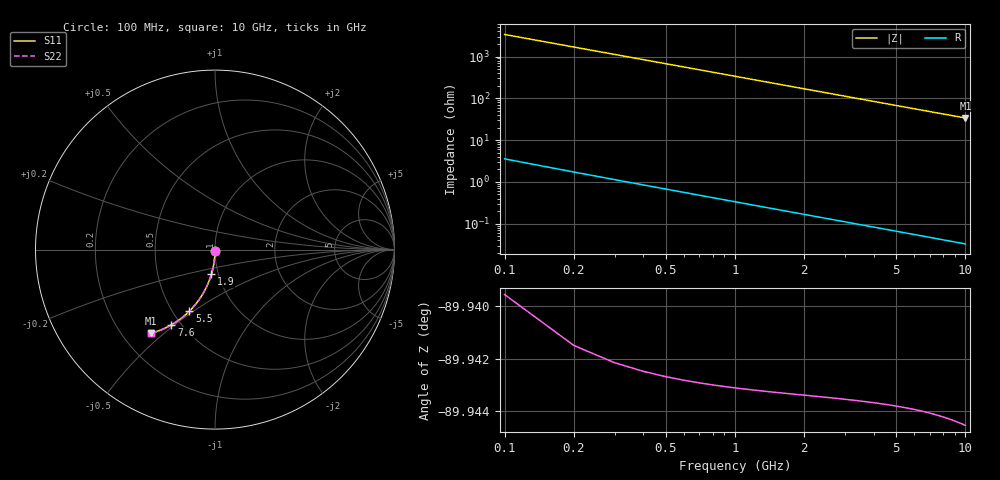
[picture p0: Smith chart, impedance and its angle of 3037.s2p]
# Hz S RI R 50.00
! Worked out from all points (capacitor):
!   100 points, 100 MHz to 10 GHz, reference 50 ohm
!   read as one part in shunt: C = 472 fF near 100 MHz
!   lowest |Z| = 33.8 ohm at 10 GHz (marker M1)
!   S11 on the Smith chart (normalised r, x): 100 MHz: 1.00, -0.01; 1.9 GHz: 0.93, -0.26; 5.5 GHz: 0.60, -0.48; 7.6 GHz: 0.45, -0.49; 10 GHz: 0.32, -0.45
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1e8  -3.3e-05 -0.0073  0.9999 -0.00753  0.9999 -0.00753  -3.3e-05 -0.0073
2e8  -0.000205 -0.0146  0.9997 -0.0151  0.9997 -0.0151  -0.000205 -0.0146
3e8  -0.000487 -0.0219  0.9995 -0.0226  0.9995 -0.0226  -0.000487 -0.0219
4e8  -0.000879 -0.0292  0.9991 -0.0301  0.9991 -0.0301  -0.000879 -0.0292
5e8  -0.00138 -0.0364  0.9986 -0.0376  0.9986 -0.0376  -0.00138 -0.0364
6e8  -0.00199 -0.0437  0.9979 -0.0451  0.9979 -0.0451  -0.00199 -0.0437
8e8  -0.00354 -0.0582  0.9964 -0.0601  0.9964 -0.0601  -0.00354 -0.0582
9e8  -0.00447 -0.0654  0.9955 -0.0675  0.9955 -0.0675  -0.00447 -0.0654
1.1e9  -0.00666 -0.0797  0.9933 -0.0824  0.9933 -0.0824  -0.00666 -0.0797
1.4e9  -0.0107 -0.1011  0.9892 -0.1044  0.9892 -0.1044  -0.0107 -0.1011
1.8e9  -0.0176 -0.129  0.9823 -0.1333  0.9823 -0.1333  -0.0176 -0.129
1.9e9  -0.0196 -0.1359  0.9803 -0.1405  0.9803 -0.1405  -0.0196 -0.1359
2.2e9  -0.0261 -0.1564  0.9738 -0.1616  0.9738 -0.1616  -0.0261 -0.1564
2.6e9  -0.036 -0.1829  0.9639 -0.1891  0.9639 -0.1891  -0.036 -0.1829
3.4e9  -0.0601 -0.2332  0.9398 -0.2413  0.9398 -0.2413  -0.0601 -0.2332
4.2e9  -0.0889 -0.2791  0.911 -0.2892  0.911 -0.2892  -0.0889 -0.2791
5.1e9  -0.1258 -0.3251  0.874 -0.3373  0.874 -0.3373  -0.1258 -0.3251
5.5e9  -0.1434 -0.3435  0.8564 -0.3567  0.8564 -0.3567  -0.1434 -0.3435
6.7e9  -0.1992 -0.3909  0.8006 -0.407  0.8006 -0.407  -0.1992 -0.3909
7.6e9  -0.2426 -0.419  0.7572 -0.4374  0.7572 -0.4374  -0.2426 -0.419
8.4e9  -0.2813 -0.439  0.7184 -0.4594  0.7184 -0.4594  -0.2813 -0.439
1e10  -0.3572 -0.4665  0.6424 -0.4909  0.6424 -0.4909  -0.3572 -0.4665
